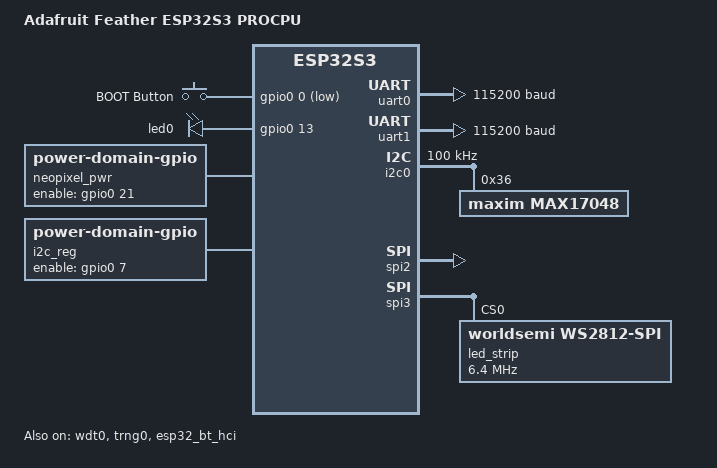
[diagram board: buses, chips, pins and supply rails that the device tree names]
/*
 * Copyright (c) 2024 Espressif Systems (Shanghai) Co., Ltd.
 * Copyright (c) 2024 Leon Rinkel <leon@rinkel.me>
 *
 * SPDX-License-Identifier: Apache-2.0
 */
/dts-v1/;

#include <espressif/esp32s3/esp32s3_wroom_n8.dtsi>
#include <espressif/partitions_0x0_amp.dtsi>
#include <zephyr/dt-bindings/input/input-event-codes.h>
#include <zephyr/dt-bindings/input/esp32-touch-sensor-input.h>
#include <zephyr/dt-bindings/led/led.h>
#include "feather_connector.dtsi"
#include "adafruit_feather_esp32s3-pinctrl.dtsi"

/ {
	model = "Adafruit Feather ESP32S3 PROCPU";
	compatible = "adafruit,feather_esp32s3", "espressif,esp32s3";

	aliases {
		i2c-0 = &i2c0;
		watchdog0 = &wdt0;
	};

	chosen {
		zephyr,sram = &sram1;
		zephyr,console = &uart0;
		zephyr,shell-uart = &uart0;
		zephyr,flash = &flash0;
		zephyr,code-partition = &slot0_partition;
		zephyr,bt-hci = &esp32_bt_hci;
	};

	/* These aliases are provided for compatibility with samples */
	aliases {
		uart-0 = &uart0;
		sw0 = &button0;
		led0 = &led0;
		led-strip = &led_strip;
	};

	buttons {
		compatible = "gpio-keys";
		button0: button_0 {
			gpios = <&gpio0 0 (GPIO_PULL_UP | GPIO_ACTIVE_LOW)>;
			label = "BOOT Button";
			zephyr,code = <INPUT_KEY_0>;
		};
	};

	leds {
		compatible = "gpio-leds";
		led0: led_0 {
			gpios = <&gpio0 13 GPIO_ACTIVE_HIGH>;
		};
	};

	/*
	 * The neopixel on this board has its positive side hooked up to a GPIO
	 * pin rather than a positive voltage rail to save on power.
	 */
	neopixel_pwr: neopixel_pwr {
		compatible = "power-domain-gpio";
		#power-domain-cells = <0>;
		enable-gpios = <&gpio0 21 GPIO_ACTIVE_HIGH>;
	};

	/*
	 * On-board regulator powers I2C pull-ups and external devices connected
	 * via the STEMMA QT connector.
	 */
	i2c_reg: i2c_reg {
		compatible = "power-domain-gpio";
		#power-domain-cells = <0>;
		enable-gpios = <&gpio0 7 GPIO_ACTIVE_HIGH>;
	};
};

&usb_serial {
	status = "disabled";
};

&uart0 {
	status = "okay";
	current-speed = <115200>;
	pinctrl-0 = <&uart0_default>;
	pinctrl-names = "default";
};

&uart1 {
	status = "okay";
	current-speed = <115200>;
	pinctrl-0 = <&uart1_default>;
	pinctrl-names = "default";
};

&gpio0 {
	status = "okay";
};

&gpio1 {
	status = "okay";
};

&touch {
	debounce-interval-ms = <30>;
	href-microvolt = <2700000>;
	lref-microvolt = <500000>;
	href-atten-microvolt = <1000000>;
	filter-mode = <ESP32_TOUCH_FILTER_MODE_IIR_16>;
	filter-debounce-cnt = <1>;
	filter-noise-thr = <ESP32_TOUCH_FILTER_NOISE_THR_4_8TH>;
	filter-jitter-step = <4>;
	filter-smooth-level = <ESP32_TOUCH_FILTER_SMOOTH_MODE_IIR_2>;
};

&i2c0 {
	status = "okay";
	clock-frequency = <I2C_BITRATE_STANDARD>;
	pinctrl-0 = <&i2c0_default>;
	pinctrl-names = "default";

	max17048: max17048@36 {
		compatible = "maxim,max17048";
		status = "okay";
		reg = <0x36>;

		/*
		 * The MAX17048 itself is directly powered by the battery, not
		 * through the on-board regulator. However using this device
		 * requires I2C pull-ups powered by the regulator.
		 */
		power-domains = <&i2c_reg>;
	};
};

&spi2 {
	#address-cells = <1>;
	#size-cells = <0>;
	status = "okay";
	pinctrl-0 = <&spim2_default>;
	pinctrl-names = "default";
};

&spi3 {
	#address-cells = <1>;
	#size-cells = <0>;
	status = "okay";
	pinctrl-0 = <&spim3_default>;
	pinctrl-names = "default";

	/* Workaround to support WS2812 driver */
	line-idle-low;

	led_strip: ws2812@0 {
		compatible = "worldsemi,ws2812-spi";
		power-domains = <&neopixel_pwr>;

		/* SPI */
		reg = <0>; /* ignored, but necessary for SPI bindings */
		spi-max-frequency = <6400000>;

		/* WS2812 */
		chain-length = <1>;
		spi-cpha;
		spi-one-frame = <0xf0>;  /* 625 ns high and 625 ns low */
		spi-zero-frame = <0xc0>; /* 312.5 ns high and 937.5 ns low */
		color-mapping = <LED_COLOR_ID_GREEN
				 LED_COLOR_ID_RED
				 LED_COLOR_ID_BLUE>;
	};
};

&twai {
	pinctrl-0 = <&twai_default>;
	pinctrl-names = "default";
};

&timer0 {
	status = "disabled";
};

&timer1 {
	status = "disabled";
};

&timer2 {
	status = "disabled";
};

&timer3 {
	status = "disabled";
};

&wdt0 {
	status = "okay";
};

&trng0 {
	status = "okay";
};

&esp32_bt_hci {
	status = "okay";
};
